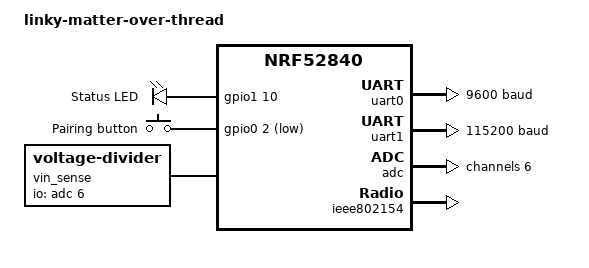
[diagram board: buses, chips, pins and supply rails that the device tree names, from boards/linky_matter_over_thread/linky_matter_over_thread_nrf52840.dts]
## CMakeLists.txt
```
# SPDX-License-Identifier: Apache-2.0

cmake_minimum_required(VERSION 3.20.0)

find_package(Zephyr HINTS $ENV{ZEPHYR_BASE})

project(linky-matter-over-thread)

# Matter needs the GNU flavour of C++17, and the sample helpers of the nRF
# Connect SDK (Matter init, board LED and button, data model glue).
include(${ZEPHYR_CONNECTEDHOMEIP_MODULE_DIR}/config/nrfconnect/app/enable-gnu-std.cmake)
include(${ZEPHYR_NRF_MODULE_DIR}/samples/matter/common/cmake/source_common.cmake)
include(${ZEPHYR_NRF_MODULE_DIR}/samples/matter/common/cmake/data_model.cmake)
include(${ZEPHYR_NRF_MODULE_DIR}/samples/matter/common/cmake/zap_helpers.cmake)

ncs_get_zap_parent_dir(ZAP_PARENT_DIR)

target_include_directories(app PRIVATE
  src
  src/tic
  ${ZAP_PARENT_DIR}
)

target_sources(app PRIVATE
  src/main.cpp
  src/electrical_sensor.cpp
  src/tic_reader.c
  src/vin_monitor.c
  src/tic/tic_parser.c
  src/tic/tic_meter.c
)

# Builds the code generated from src/default_zap/linky.zap.
ncs_configure_data_model()
```

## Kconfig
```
# SPDX-License-Identifier: Apache-2.0

mainmenu "linky-matter-over-thread"

# Thread sleepy end device (Matter ICD, short idle time): the radio sleeps
# between polls of its parent, which keeps the average current low enough
# to run from the TIC.
choice OPENTHREAD_NORDIC_LIBRARY_CONFIGURATION
	default OPENTHREAD_NORDIC_LIBRARY_MTD
endchoice

choice OPENTHREAD_DEVICE_TYPE
	default OPENTHREAD_MTD
endchoice

config CHIP_ENABLE_ICD_SUPPORT
	default y

config CHIP_ICD_SLOW_POLL_INTERVAL
	default 5000

config CHIP_ICD_REPORT_ON_ACTIVE_MODE
	default y

config OPENTHREAD_DEFAULT_TX_POWER
	default 0

config LINKY_TIC_TIMEOUT_MS
	int "Time without a valid frame before trying the other TIC speed (ms)"
	default 6000
	help
	  The meter sends a frame about every second in standard mode (9600 baud)
	  and every 1.5 s or so in historic mode (1200 baud). If no valid frame
	  arrives within this time, the reader switches to the other speed.

config LINKY_ENERGY_REPORT_INTERVAL_S
	int "Minimum time between two cumulative energy updates (s)"
	default 60

config LINKY_POWER_WINDOW_S
	int "Minimum window for the active power estimate (s)"
	default 60

config LINKY_VIN_LOG_INTERVAL_S
	int "Interval between two input voltage log lines, 0 to disable (s)"
	default 60

source "$(ZEPHYR_CONNECTEDHOMEIP_MODULE_DIR)/config/nrfconnect/chip-module/Kconfig.features"
source "$(ZEPHYR_CONNECTEDHOMEIP_MODULE_DIR)/config/nrfconnect/chip-module/Kconfig.defaults"
source "$(ZEPHYR_NRF_MODULE_DIR)/samples/matter/common/src/Kconfig"
source "Kconfig.zephyr"
```

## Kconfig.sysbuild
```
# SPDX-License-Identifier: Apache-2.0

# No bootloader: the nRF52840 has no external flash on this board, so there is
# no room for a second image and no over-the-air update. Updates go through SWD.
choice BOOTLOADER
	default BOOTLOADER_NONE
endchoice

config MATTER_OTA
	default n

# Generates factory data with a random setup passcode and discriminator for
# each build, instead of the well-known test passcode.
config MATTER_FACTORY_DATA_GENERATE
	default y

source "share/sysbuild/Kconfig"
```

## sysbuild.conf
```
# SPDX-License-Identifier: Apache-2.0

SB_CONFIG_MATTER=y
SB_CONFIG_PARTITION_MANAGER=n
```

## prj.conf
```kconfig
# SPDX-License-Identifier: Apache-2.0

# Matter
CONFIG_CHIP=y
CONFIG_NCS_SAMPLE_MATTER_ZAP_FILE_PATH="${APPLICATION_CONFIG_DIR}/src/default_zap/linky.zap"
CONFIG_CHIP_DEVICE_VENDOR_NAME="linky-matter-over-thread"
CONFIG_CHIP_DEVICE_PRODUCT_NAME="Linky TIC"
# Test vendor and product IDs: commission with the test DCL enabled.
CONFIG_CHIP_DEVICE_PRODUCT_ID=32768
CONFIG_STD_CPP17=y
CONFIG_CHIP_ENABLE_PAIRING_AUTOSTART=y
CONFIG_CHIP_BLE_EXT_ADVERTISING=y
CONFIG_CHIP_BLE_ADVERTISING_DURATION=60
CONFIG_BT_DEVICE_NAME="LinkyMatter"
CONFIG_BT_DEVICE_NAME_MAX=18

# No external flash, no bootloader: no Matter OTA.
CONFIG_CHIP_BOOTLOADER_NONE=y
CONFIG_CHIP_OTA_REQUESTOR=n
CONFIG_CHIP_FACTORY_DATA=y
CONFIG_CHIP_FACTORY_DATA_BUILD=y
CONFIG_CHIP_NFC_ONBOARDING_PAYLOAD=n

# Status LED and pairing button (short press: advertise, long press: factory reset).
CONFIG_DK_LIBRARY=y

# TIC input and the input voltage monitor.
CONFIG_UART_INTERRUPT_DRIVEN=y
CONFIG_UART_USE_RUNTIME_CONFIGURE=y
CONFIG_ADC=y

# Debug output on J2 (TX only, no shell).
CONFIG_SHELL=n
CONFIG_CHIP_LIB_SHELL=n
CONFIG_OPENTHREAD_SHELL=n
CONFIG_USE_SEGGER_RTT=n

CONFIG_PM_DEVICE=y
CONFIG_THREAD_NAME=y
CONFIG_MPU_STACK_GUARD=y
CONFIG_RESET_ON_FATAL_ERROR=y

# Test event triggers are only useful for certification.
CONFIG_NCS_SAMPLE_MATTER_TEST_EVENT_TRIGGERS=n
```

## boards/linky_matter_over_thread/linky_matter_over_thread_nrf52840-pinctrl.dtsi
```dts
/*
 * SPDX-License-Identifier: Apache-2.0
 */

&pinctrl {
	/* TIC data, from the AO3400A drain (10 k pull-up on the board). Receive only. */
	uart0_default: uart0_default {
		group1 {
			psels = <NRF_PSEL(UART_RX, 0, 13)>;
		};
	};

	uart0_sleep: uart0_sleep {
		group1 {
			psels = <NRF_PSEL(UART_RX, 0, 13)>;
			low-power-enable;
		};
	};

	/* Debug output on J2 pin 4. Transmit only. */
	uart1_default: uart1_default {
		group1 {
			psels = <NRF_PSEL(UART_TX, 0, 24)>;
		};
	};

	uart1_sleep: uart1_sleep {
		group1 {
			psels = <NRF_PSEL(UART_TX, 0, 24)>;
			low-power-enable;
		};
	};
};
```

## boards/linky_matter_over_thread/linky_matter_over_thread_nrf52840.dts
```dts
/*
 * SPDX-License-Identifier: Apache-2.0
 *
 * linky-matter-over-thread v1: Ebyte E73-2G4M08S1C (nRF52840) powered by the Linky TIC.
 * Pin assignment matches hardware/linky-matter-over-thread.kicad_sch.
 */

/dts-v1/;
#include <nordic/nrf52840_qiaa.dtsi>
#include "linky_matter_over_thread_nrf52840-pinctrl.dtsi"
#include <zephyr/dt-bindings/input/input-event-codes.h>
#include <zephyr/dt-bindings/adc/adc.h>
#include <zephyr/dt-bindings/adc/nrf-saadc.h>

/ {
	model = "linky-matter-over-thread";
	compatible = "linky-matter-over-thread";

	chosen {
		zephyr,console = &uart1;
		zephyr,shell-uart = &uart1;
		zephyr,sram = &sram0;
		zephyr,flash = &flash0;
		zephyr,code-partition = &slot0_partition;
		zephyr,ieee802154 = &ieee802154;
	};

	leds {
		compatible = "gpio-leds";
		led0: led_0 {
			gpios = <&gpio1 10 GPIO_ACTIVE_HIGH>;
			label = "Status LED";
		};
	};

	buttons {
		compatible = "gpio-keys";
		button0: button_0 {
			gpios = <&gpio0 2 (GPIO_PULL_UP | GPIO_ACTIVE_LOW)>;
			label = "Pairing button";
			zephyr,code = <INPUT_KEY_0>;
		};
	};

	/* Input voltage after the bridge, through 1 M / 150 k (x 0.1304) on AIN6. */
	vin_sense: vin-sense {
		compatible = "voltage-divider";
		io-channels = <&adc 6>;
		output-ohms = <150000>;
		full-ohms = <1150000>;
	};

	aliases {
		led0 = &led0;
		sw0 = &button0;
		tic-uart = &uart0;
	};
};

/* P0.18 is the reset pin (J2 pin 3); without this it stays a plain GPIO. */
&uicr {
	gpio-as-nreset;
};

&gpiote {
	status = "okay";
};

&gpio0 {
	status = "okay";
};

&gpio1 {
	status = "okay";
};

/*
 * No DC/DC: the E73 module does not appear to have the inductor the nRF52840
 * DC/DC regulator needs, so REG1 stays in LDO mode (the default).
 * VDDH is tied to VDD on the board (normal voltage mode).
 */

&uart0 {
	compatible = "nordic,nrf-uarte";
	status = "okay";
	current-speed = <9600>;
	pinctrl-0 = <&uart0_default>;
	pinctrl-1 = <&uart0_sleep>;
	pinctrl-names = "default", "sleep";
};

&uart1 {
	compatible = "nordic,nrf-uarte";
	status = "okay";
	current-speed = <115200>;
	pinctrl-0 = <&uart1_default>;
	pinctrl-1 = <&uart1_sleep>;
	pinctrl-names = "default", "sleep";
};

&adc {
	status = "okay";
	#address-cells = <1>;
	#size-cells = <0>;

	channel@6 {
		reg = <6>;
		zephyr,gain = "ADC_GAIN_1_6";
		zephyr,reference = "ADC_REF_INTERNAL";
		/* 130 kOhm source: 40 us acquisition is the nRF52840 setting for up to 800 kOhm. */
		zephyr,acquisition-time = <ADC_ACQ_TIME(ADC_ACQ_TIME_MICROSECONDS, 40)>;
		zephyr,input-positive = <NRF_SAADC_AIN6>;
		zephyr,resolution = <12>;
	};
};

&ieee802154 {
	status = "okay";
};

&flash0 {
	partitions {
		ranges;
		#address-cells = <1>;
		#size-cells = <1>;

		/* No bootloader and no external flash: updates go through SWD. */
		slot0_partition: partition@0 {
			compatible = "zephyr,mapped-partition";
			label = "image-0";
			reg = <0x00000000 DT_SIZE_K(988)>;
		};

		factory_data_partition: partition@f7000 {
			compatible = "zephyr,mapped-partition";
			label = "factory-data";
			reg = <0x000f7000 DT_SIZE_K(4)>;
		};

		storage_partition: partition@f8000 {
			compatible = "zephyr,mapped-partition";
			label = "storage";
			reg = <0x000f8000 DT_SIZE_K(32)>;
		};
	};
};
```

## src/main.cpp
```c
/*
 * SPDX-License-Identifier: Apache-2.0
 *
 * Starts Matter with the nRF Connect SDK helpers, then the TIC reader, and
 * hands every valid frame over to the Matter thread.
 */

#include "electrical_sensor.h"
#include "tic_reader.h"
#include "vin_monitor.h"

#include "app/matter_init.h"
#include "app/task_executor.h"
#include "board/board.h"

#include <lib/core/CHIPError.h>
#include <lib/support/CodeUtils.h>
#include <platform/CHIPDeviceLayer.h>

#include <zephyr/kernel.h>
#include <zephyr/logging/log.h>

#include <cstdlib>

LOG_MODULE_REGISTER(app, CONFIG_CHIP_APP_LOG_LEVEL);

namespace {

constexpr chip::EndpointId kMeterEndpoint = 1;

/*
 * The TIC thread keeps only the newest frame here and schedules at most one
 * update on the Matter thread at a time, which then takes that newest frame.
 */
k_spinlock sFrameLock;
tic_reading sNewestFrame;
bool sUpdateScheduled;

void ApplyNewestFrame(intptr_t)
{
	k_spinlock_key_t key = k_spin_lock(&sFrameLock);
	tic_reading frame = sNewestFrame;

	sUpdateScheduled = false;
	k_spin_unlock(&sFrameLock, key);

	ElectricalSensor::Update(frame, static_cast<uint64_t>(k_uptime_get()));
}

void OnFrame(const tic_reading *frame)
{
	k_spinlock_key_t key = k_spin_lock(&sFrameLock);
	bool schedule = !sUpdateScheduled;

	sNewestFrame = *frame;
	sUpdateScheduled = true;
	k_spin_unlock(&sFrameLock, key);

	if (schedule) {
		chip::DeviceLayer::PlatformMgr().ScheduleWork(ApplyNewestFrame);
	}
}

CHIP_ERROR StartMatter()
{
	/* The clusters of the meter are set up on the Matter thread, right after the server. */
	Nrf::Matter::InitData init{};

	init.mPostServerInitClbk = [] { return ElectricalSensor::Init(kMeterEndpoint); };
	ReturnErrorOnFailure(Nrf::Matter::PrepareServer(init));

	/* Status LED, and the button: short press to advertise, long press to factory reset. */
	VerifyOrReturnError(Nrf::GetBoard().Init(), CHIP_ERROR_INCORRECT_STATE);
	ReturnErrorOnFailure(Nrf::Matter::RegisterEventHandler(Nrf::Board::DefaultMatterEventHandler, 0));

	return Nrf::Matter::StartServer();
}

} // namespace

int main()
{
	CHIP_ERROR err = StartMatter();

	if (err != CHIP_NO_ERROR) {
		LOG_ERR("Matter did not start: %" CHIP_ERROR_FORMAT, err.Format());
		return EXIT_FAILURE;
	}

	if (int ret = vin_monitor_start(); ret) {
		LOG_WRN("Input voltage monitor not started: %d", ret);
	}
	if (int ret = tic_reader_start(OnFrame); ret) {
		LOG_ERR("TIC reader not started: %d", ret);
		return EXIT_FAILURE;
	}

	for (;;) {
		Nrf::DispatchNextTask();
	}
}
```

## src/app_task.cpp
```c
/*
 * Based on the nRF Connect SDK Matter template sample.
 * Copyright (c) 2021 Nordic Semiconductor ASA
 * SPDX-License-Identifier: LicenseRef-Nordic-5-Clause
 */

#include "app_task.h"

#include "electrical_sensor.h"
#include "tic_reader.h"
#include "vin_monitor.h"

#include "app/matter_init.h"
#include "app/task_executor.h"
#include "board/board.h"

#include <lib/core/CHIPError.h>
#include <lib/support/CodeUtils.h>
#include <platform/CHIPDeviceLayer.h>

#include <zephyr/kernel.h>
#include <zephyr/logging/log.h>

LOG_MODULE_DECLARE(app, CONFIG_CHIP_APP_LOG_LEVEL);

using namespace ::chip;
using namespace ::chip::DeviceLayer;

namespace {

constexpr EndpointId kMeterEndpoint = 1;

/* Latest frame, handed from the TIC thread to the Matter thread. */
struct k_spinlock sLock;
tic_reading sLatest;
bool sUpdatePending;

void UpdateOnMatterThread(intptr_t)
{
	tic_reading reading;
	k_spinlock_key_t key = k_spin_lock(&sLock);

	reading = sLatest;
	sUpdatePending = false;
	k_spin_unlock(&sLock, key);

	ElectricalSensor::Update(reading, static_cast<uint64_t>(k_uptime_get()));
}

/* Runs in the TIC thread for every valid frame. */
void OnTicReading(const tic_reading *reading)
{
	k_spinlock_key_t key = k_spin_lock(&sLock);
	bool schedule = !sUpdatePending;

	sLatest = *reading;
	sUpdatePending = true;
	k_spin_unlock(&sLock, key);

	/* One pending update is enough: it always picks up the newest frame. */
	if (schedule) {
		PlatformMgr().ScheduleWork(UpdateOnMatterThread);
	}
}

} // namespace

CHIP_ERROR AppTask::Init()
{
	ReturnErrorOnFailure(Nrf::Matter::PrepareServer(Nrf::Matter::InitData{
		.mPostServerInitClbk = [] { return ElectricalSensor::Init(kMeterEndpoint); } }));

	if (!Nrf::GetBoard().Init()) {
		LOG_ERR("User interface initialization failed.");
		return CHIP_ERROR_INCORRECT_STATE;
	}

	ReturnErrorOnFailure(Nrf::Matter::RegisterEventHandler(Nrf::Board::DefaultMatterEventHandler, 0));
	ReturnErrorOnFailure(Nrf::Matter::StartServer());

	if (int err = vin_monitor_start(); err) {
		LOG_WRN("Input voltage monitor not started: %d", err);
	}
	if (int err = tic_reader_start(OnTicReading); err) {
		LOG_ERR("TIC reader not started: %d", err);
		return CHIP_ERROR_INCORRECT_STATE;
	}
	return CHIP_NO_ERROR;
}

CHIP_ERROR AppTask::StartApp()
{
	ReturnErrorOnFailure(Init());

	while (true) {
		Nrf::DispatchNextTask();
	}

	return CHIP_NO_ERROR;
}
```

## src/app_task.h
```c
/*
 * Based on the nRF Connect SDK Matter template sample.
 * Copyright (c) 2021 Nordic Semiconductor ASA
 * SPDX-License-Identifier: LicenseRef-Nordic-5-Clause
 */

#pragma once

#include <platform/CHIPDeviceLayer.h>

class AppTask {
public:
	static AppTask &Instance()
	{
		static AppTask sAppTask;
		return sAppTask;
	};

	CHIP_ERROR StartApp();

private:
	CHIP_ERROR Init();
};
```

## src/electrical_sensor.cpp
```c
/*
 * SPDX-License-Identifier: Apache-2.0
 */

#include "electrical_sensor.h"

#include <app-common/zap-generated/cluster-objects.h>
#include <app/clusters/electrical-energy-measurement-server/ElectricalEnergyMeasurementCluster.h>
#include <app/clusters/electrical-energy-measurement-server/electrical-energy-measurement-server.h>
#include <app/clusters/electrical-power-measurement-server/electrical-power-measurement-server.h>
#include <app/clusters/power-topology-server/power-topology-server.h>
#include <app/reporting/reporting.h>
#include <app/util/endpoint-config-api.h>
#include <lib/support/CHIPMem.h>
#include <lib/support/CodeUtils.h>
#include <platform/KeyValueStoreManager.h>

#include <zephyr/logging/log.h>

LOG_MODULE_REGISTER(sensor, CONFIG_CHIP_APP_LOG_LEVEL);

using namespace chip;
using namespace chip::app;
using namespace chip::app::Clusters;

namespace {

namespace EPM = ElectricalPowerMeasurement;
namespace EEM = ElectricalEnergyMeasurement;

using AccuracyRange = EPM::Structs::MeasurementAccuracyRangeStruct::Type;
using Accuracy = EPM::Structs::MeasurementAccuracyStruct::Type;

/*
 * Accuracy as the Linky reports it: voltage and current to the volt and the
 * ampere, apparent power to the volt-ampere (PAPP is rounded to 10 VA), and
 * active power estimated from 1 Wh steps over at least a minute.
 */
const AccuracyRange kVoltageRange[] = { { .rangeMin = 0, .rangeMax = 500'000, .fixedMax = MakeOptional<uint64_t>(1'000) } };
const AccuracyRange kCurrentRange[] = { { .rangeMin = 0, .rangeMax = 100'000, .fixedMax = MakeOptional<uint64_t>(1'000) } };
const AccuracyRange kActivePowerRange[] = { { .rangeMin = 0, .rangeMax = 36'000'000, .fixedMax = MakeOptional<uint64_t>(60'000) } };
const AccuracyRange kApparentPowerRange[] = { { .rangeMin = 0, .rangeMax = 36'000'000, .fixedMax = MakeOptional<uint64_t>(10'000) } };
const AccuracyRange kEnergyRange[] = { { .rangeMin = 0, .rangeMax = 999'999'999'000, .fixedMax = MakeOptional<uint64_t>(1'000) } };

const Accuracy kPowerAccuracies[] = {
	{ .measurementType = EPM::MeasurementTypeEnum::kVoltage, .measured = true, .minMeasuredValue = 0,
	  .maxMeasuredValue = 500'000, .accuracyRanges = DataModel::List<const AccuracyRange>(kVoltageRange) },
	{ .measurementType = EPM::MeasurementTypeEnum::kActiveCurrent, .measured = true, .minMeasuredValue = 0,
	  .maxMeasuredValue = 100'000, .accuracyRanges = DataModel::List<const AccuracyRange>(kCurrentRange) },
	{ .measurementType = EPM::MeasurementTypeEnum::kActivePower, .measured = true, .minMeasuredValue = 0,
	  .maxMeasuredValue = 36'000'000, .accuracyRanges = DataModel::List<const AccuracyRange>(kActivePowerRange) },
	{ .measurementType = EPM::MeasurementTypeEnum::kApparentPower, .measured = true, .minMeasuredValue = 0,
	  .maxMeasuredValue = 36'000'000, .accuracyRanges = DataModel::List<const AccuracyRange>(kApparentPowerRange) },
};

const Accuracy kEnergyAccuracy = { .measurementType = EPM::MeasurementTypeEnum::kElectricalEnergy,
				   .measured = true,
				   .minMeasuredValue = 0,
				   .maxMeasuredValue = 999'999'999'000,
				   .accuracyRanges = DataModel::List<const AccuracyRange>(kEnergyRange) };

class PowerDelegate : public EPM::Delegate {
public:
	EPM::PowerModeEnum GetPowerMode() override { return EPM::PowerModeEnum::kAc; }
	uint8_t GetNumberOfMeasurementTypes() override { return MATTER_ARRAY_SIZE(kPowerAccuracies); }

	CHIP_ERROR StartAccuracyRead() override { return CHIP_NO_ERROR; }
	CHIP_ERROR GetAccuracyByIndex(uint8_t index, Accuracy &accuracy) override
	{
		VerifyOrReturnError(index < MATTER_ARRAY_SIZE(kPowerAccuracies), CHIP_ERROR_PROVIDER_LIST_EXHAUSTED);
		accuracy = kPowerAccuracies[index];
		return CHIP_NO_ERROR;
	}
	CHIP_ERROR EndAccuracyRead() override { return CHIP_NO_ERROR; }

	CHIP_ERROR StartRangesRead() override { return CHIP_NO_ERROR; }
	CHIP_ERROR GetRangeByIndex(uint8_t, EPM::Structs::MeasurementRangeStruct::Type &) override
	{
		return CHIP_ERROR_PROVIDER_LIST_EXHAUSTED;
	}
	CHIP_ERROR EndRangesRead() override { return CHIP_NO_ERROR; }

	CHIP_ERROR StartHarmonicCurrentsRead() override { return CHIP_NO_ERROR; }
	CHIP_ERROR GetHarmonicCurrentsByIndex(uint8_t, EPM::Structs::HarmonicMeasurementStruct::Type &) override
	{
		return CHIP_ERROR_PROVIDER_LIST_EXHAUSTED;
	}
	CHIP_ERROR EndHarmonicCurrentsRead() override { return CHIP_NO_ERROR; }

	CHIP_ERROR StartHarmonicPhasesRead() override { return CHIP_NO_ERROR; }
	CHIP_ERROR GetHarmonicPhasesByIndex(uint8_t, EPM::Structs::HarmonicMeasurementStruct::Type &) override
	{
		return CHIP_ERROR_PROVIDER_LIST_EXHAUSTED;
	}
	CHIP_ERROR EndHarmonicPhasesRead() override { return CHIP_NO_ERROR; }

	DataModel::Nullable<int64_t> GetVoltage() override { return mVoltage; }
	DataModel::Nullable<int64_t> GetActiveCurrent() override { return mCurrent; }
	DataModel::Nullable<int64_t> GetActivePower() override { return mActivePower; }
	DataModel::Nullable<int64_t> GetApparentPower() override { return mApparentPower; }
	DataModel::Nullable<int64_t> GetReactiveCurrent() override { return {}; }
	DataModel::Nullable<int64_t> GetApparentCurrent() override { return {}; }
	DataModel::Nullable<int64_t> GetReactivePower() override { return {}; }
	DataModel::Nullable<int64_t> GetRMSVoltage() override { return {}; }
	DataModel::Nullable<int64_t> GetRMSCurrent() override { return {}; }
	DataModel::Nullable<int64_t> GetRMSPower() override { return {}; }
	DataModel::Nullable<int64_t> GetFrequency() override { return {}; }
	DataModel::Nullable<int64_t> GetPowerFactor() override { return {}; }
	DataModel::Nullable<int64_t> GetNeutralCurrent() override { return {}; }

	void SetVoltage(DataModel::Nullable<int64_t> v) { Set(mVoltage, v, EPM::Attributes::Voltage::Id); }
	void SetCurrent(DataModel::Nullable<int64_t> v) { Set(mCurrent, v, EPM::Attributes::ActiveCurrent::Id); }
	void SetActivePower(DataModel::Nullable<int64_t> v) { Set(mActivePower, v, EPM::Attributes::ActivePower::Id); }
	void SetApparentPower(DataModel::Nullable<int64_t> v) { Set(mApparentPower, v, EPM::Attributes::ApparentPower::Id); }

private:
	void Set(DataModel::Nullable<int64_t> &field, DataModel::Nullable<int64_t> value, AttributeId id)
	{
		if (field != value) {
			field = value;
			MatterReportingAttributeChangeCallback(mEndpointId, EPM::Id, id);
		}
	}

	DataModel::Nullable<int64_t> mVoltage;
	DataModel::Nullable<int64_t> mCurrent;
	DataModel::Nullable<int64_t> mActivePower;
	DataModel::Nullable<int64_t> mApparentPower;
};

class TopologyDelegate : public PowerTopology::Delegate {
public:
	CHIP_ERROR GetAvailableEndpointAtIndex(size_t, EndpointId &) override { return CHIP_ERROR_PROVIDER_LIST_EXHAUSTED; }
	CHIP_ERROR GetActiveEndpointAtIndex(size_t, EndpointId &) override { return CHIP_ERROR_PROVIDER_LIST_EXHAUSTED; }
};

/*
 * Endpoints 2 to 11 carry the energy of supplier indexes 1 to 10 (HC/HP, Tempo...).
 * An endpoint stays hidden until its index shows up in a frame; the indexes
 * seen are saved so the same endpoints are back right after a reboot.
 */
constexpr EndpointId kFirstIndexEndpoint = 2;
constexpr uint8_t kIndexEndpoints = TIC_INDEX_COUNT;
constexpr uint16_t kIndexEndpointMask = (1u << kIndexEndpoints) - 1;
constexpr char kIndexMaskKey[] = "linky/ix";

struct EnergyChannel {
	EndpointId endpoint = kInvalidEndpointId;
	uint32_t lastWh = 0;
	uint64_t lastMs = 0;
	bool sent = false;
};

EndpointId sEndpoint = kInvalidEndpointId;
PowerDelegate sPowerDelegate;
TopologyDelegate sTopologyDelegate;
EPM::Instance *sPower;
PowerTopology::Instance *sTopology;
PowerTopology::Instance *sIndexTopology[kIndexEndpoints];
EEM::ElectricalEnergyMeasurementAttrAccess *sEnergy;

tic_power_estimator sEstimator;
EnergyChannel sTotal;
EnergyChannel sIndex[kIndexEndpoints];
uint16_t sShownIndexes;

DataModel::Nullable<int64_t> Milli(bool present, uint32_t value)
{
	return present ? DataModel::MakeNullable(static_cast<int64_t>(value) * 1000) : DataModel::Nullable<int64_t>();
}

/* The counters only move in 1 Wh steps; send one when it moved, at most once a minute. */
void UpdateEnergy(EnergyChannel &ch, uint32_t wh, uint64_t nowMs)
{
	bool due = !ch.sent ||
		   (wh != ch.lastWh && nowMs - ch.lastMs >= CONFIG_LINKY_ENERGY_REPORT_INTERVAL_S * 1000ull);
	if (!due) {
		return;
	}
	EEM::Structs::EnergyMeasurementStruct::Type imported;

	imported.energy = static_cast<int64_t>(wh) * 1000; /* mWh */
	imported.endSystime.SetValue(nowMs);
	EEM::NotifyCumulativeEnergyMeasured(ch.endpoint, MakeOptional(imported), NullOptional);
	MatterReportingAttributeChangeCallback(ch.endpoint, EEM::Id, EEM::Attributes::CumulativeEnergyImported::Id);
	ch.lastWh = wh;
	ch.lastMs = nowMs;
	ch.sent = true;
}

void ShowIndexEndpoints(uint16_t mask)
{
	for (uint8_t i = 0; i < kIndexEndpoints; i++) {
		bool show = mask & (1u << i);

		emberAfEndpointEnableDisable(sIndex[i].endpoint, show);
		if (show) {
			/* Enabling an endpoint initialises its clusters again. */
			EEM::SetMeasurementAccuracy(sIndex[i].endpoint, kEnergyAccuracy);
		}
	}
}

} // namespace

namespace ElectricalSensor {

CHIP_ERROR Init(EndpointId endpoint)
{
	sEndpoint = endpoint;

	static PowerTopology::Instance topology(endpoint, sTopologyDelegate,
						BitMask<PowerTopology::Feature>(PowerTopology::Feature::kNodeTopology),
						BitMask<PowerTopology::OptionalAttributes>(0));
	sTopology = &topology;
	ReturnErrorOnFailure(sTopology->Init());

	static EPM::Instance power(endpoint, sPowerDelegate,
				   BitMask<EPM::Feature>(EPM::Feature::kAlternatingCurrent),
				   BitMask<EPM::OptionalAttributes>(EPM::OptionalAttributes::kOptionalAttributeVoltage,
								    EPM::OptionalAttributes::kOptionalAttributeActiveCurrent,
								    EPM::OptionalAttributes::kOptionalAttributeApparentPower));
	sPower = &power;
	ReturnErrorOnFailure(sPower->Init());

	static EEM::ElectricalEnergyMeasurementAttrAccess energy(
		BitMask<EEM::Feature>(EEM::Feature::kImportedEnergy, EEM::Feature::kCumulativeEnergy),
		BitMask<EEM::OptionalAttributes>(0));
	sEnergy = &energy;
	ReturnErrorOnFailure(sEnergy->Init());
	ReturnErrorOnFailure(EEM::SetMeasurementAccuracy(endpoint, kEnergyAccuracy));
	sTotal.endpoint = endpoint;

	for (uint8_t i = 0; i < kIndexEndpoints; i++) {
		EndpointId ep = static_cast<EndpointId>(kFirstIndexEndpoint + i);

		sIndexTopology[i] = Platform::New<PowerTopology::Instance>(
			ep, sTopologyDelegate, BitMask<PowerTopology::Feature>(PowerTopology::Feature::kNodeTopology),
			BitMask<PowerTopology::OptionalAttributes>(0));
		VerifyOrReturnError(sIndexTopology[i] != nullptr, CHIP_ERROR_NO_MEMORY);
		ReturnErrorOnFailure(sIndexTopology[i]->Init());
		ReturnErrorOnFailure(EEM::SetMeasurementAccuracy(ep, kEnergyAccuracy));
		sIndex[i].endpoint = ep;
	}

	uint16_t saved = 0;

	if (DeviceLayer::PersistedStorage::KeyValueStoreMgr().Get(kIndexMaskKey, &saved) != CHIP_NO_ERROR) {
		saved = 0;
	}
	sShownIndexes = saved & kIndexEndpointMask;
	ShowIndexEndpoints(sShownIndexes);
	LOG_INF("Index endpoints shown: 0x%03x", sShownIndexes);

	tic_power_init(&sEstimator, CONFIG_LINKY_POWER_WINDOW_S * 1000u);
	return CHIP_NO_ERROR;
}

void Update(const tic_reading &r, uint64_t nowMs)
{
	VerifyOrReturn(sEndpoint != kInvalidEndpointId);

	sPowerDelegate.SetVoltage(Milli(r.fields & TIC_HAS_VOLTAGE, r.voltage_v));
	sPowerDelegate.SetCurrent(Milli(r.fields & TIC_HAS_CURRENT, r.current_a));
	sPowerDelegate.SetApparentPower(Milli(r.fields & TIC_HAS_APPARENT_POWER, r.apparent_power_va));

	if (!(r.fields & TIC_HAS_TOTAL)) {
		return;
	}
	if (tic_power_update(&sEstimator, r.total_wh, nowMs)) {
		sPowerDelegate.SetActivePower(Milli(sEstimator.has_power, sEstimator.power_w));
	}

	UpdateEnergy(sTotal, r.total_wh, nowMs);

	uint16_t seen = r.index_mask & kIndexEndpointMask;

	if (seen & ~sShownIndexes) {
		sShownIndexes |= seen;
		ShowIndexEndpoints(sShownIndexes);
		DeviceLayer::PersistedStorage::KeyValueStoreMgr().Put(kIndexMaskKey, sShownIndexes);
		LOG_INF("Index endpoints shown: 0x%03x", sShownIndexes);
	}
	for (uint8_t i = 0; i < kIndexEndpoints; i++) {
		if (seen & (1u << i)) {
			UpdateEnergy(sIndex[i], r.energy_wh[i], nowMs);
		}
	}
}

} // namespace ElectricalSensor
```

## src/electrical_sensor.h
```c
/*
 * SPDX-License-Identifier: Apache-2.0
 *
 * Matter side of the meter. Endpoint 1 is an Electrical Sensor with the
 * Power Topology, Electrical Power Measurement and Electrical Energy
 * Measurement clusters, for the whole meter. Endpoints 2 to 11 carry the
 * energy of supplier indexes 1 to 10, shown once the meter reports them.
 * Call both functions on the Matter thread.
 */
#pragma once

#include "tic_meter.h"

#include <lib/core/CHIPError.h>
#include <lib/core/DataModelTypes.h>

namespace ElectricalSensor {

CHIP_ERROR Init(chip::EndpointId endpoint);

void Update(const tic_reading &reading, uint64_t nowMs);

} // namespace ElectricalSensor
```

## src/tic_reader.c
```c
/*
 * SPDX-License-Identifier: Apache-2.0
 */

#include "tic_reader.h"

#include <zephyr/device.h>
#include <zephyr/drivers/clock_control/nrf_clock_control.h>
#include <zephyr/drivers/uart.h>
#include <zephyr/kernel.h>
#include <zephyr/logging/log.h>
#include <zephyr/sys/onoff.h>
#include <zephyr/sys/ring_buffer.h>

LOG_MODULE_REGISTER(tic, CONFIG_LOG_DEFAULT_LEVEL);

#define TIC_STACK_SIZE 1536
#define TIC_PRIORITY   K_PRIO_PREEMPT(10)

static const struct device *const uart = DEVICE_DT_GET(DT_ALIAS(tic_uart));

RING_BUF_DECLARE(rx_ring, 512);
static K_SEM_DEFINE(rx_sem, 0, 1);

static struct tic_meter meter;
static tic_reader_cb user_cb;
static int64_t last_frame_ms;
static int64_t last_switch_ms;
static uint32_t baudrate = 9600;
static bool locked;

/*
 * The UARTE times bits from HFCLK. Unless something asks for the 32 MHz crystal, HFCLK runs
 * from the internal RC oscillator (1.5 % typical, up to 8 %), which leaves too little margin
 * at 9600 baud once the optocoupler's slow edges are counted. Keep the crystal on while the
 * TIC is read: it costs about 0.1 mA.
 */
static struct onoff_client hfxo_client;

static int hfxo_request(void)
{
	struct onoff_manager *mgr = z_nrf_clock_control_get_onoff(CLOCK_CONTROL_NRF_SUBSYS_HF);

	if (!mgr) {
		return -ENODEV;
	}
	sys_notify_init_spinwait(&hfxo_client.notify);
	int err = onoff_request(mgr, &hfxo_client);

	return err < 0 ? err : 0;
}

static void uart_isr(const struct device *dev, void *user_data)
{
	ARG_UNUSED(user_data);

	while (uart_irq_update(dev) && uart_irq_rx_ready(dev)) {
		uint8_t buf[32];
		int n = uart_fifo_read(dev, buf, sizeof(buf));

		if (n <= 0) {
			break;
		}
		/* If the reader thread falls behind, the excess is dropped and the frame fails its checks. */
		ring_buf_put(&rx_ring, buf, n);
		k_sem_give(&rx_sem);
	}
}

static int apply_baudrate(uint32_t rate)
{
	const struct uart_config cfg = {
		.baudrate = rate,
		.parity = UART_CFG_PARITY_NONE, /* 7E1 is read as 8N1, parity checked in software */
		.stop_bits = UART_CFG_STOP_BITS_1,
		.data_bits = UART_CFG_DATA_BITS_8,
		.flow_ctrl = UART_CFG_FLOW_CTRL_NONE,
	};

	uart_irq_rx_disable(uart);
	int err = uart_configure(uart, &cfg);

	ring_buf_reset(&rx_ring);
	tic_meter_init(&meter, meter.on_reading, NULL);
	uart_irq_rx_enable(uart);
	return err;
}

static void on_reading(const struct tic_reading *reading, void *ctx)
{
	ARG_UNUSED(ctx);

	last_frame_ms = k_uptime_get();
	if (!locked) {
		locked = true;
		LOG_INF("TIC found: %s mode, %u baud",
			reading->mode == TIC_MODE_STANDARD ? "standard" : "historic", baudrate);
	}
	if (user_cb) {
		user_cb(reading);
	}
}

static void tic_thread(void *a, void *b, void *c)
{
	ARG_UNUSED(a);
	ARG_UNUSED(b);
	ARG_UNUSED(c);

	uint8_t buf[64];

	last_switch_ms = k_uptime_get();
	for (;;) {
		k_sem_take(&rx_sem, K_MSEC(500));

		uint32_t n;

		do {
			unsigned int key = irq_lock();

			n = ring_buf_get(&rx_ring, buf, sizeof(buf));
			irq_unlock(key);
			if (n) {
				tic_meter_feed(&meter, buf, n);
			}
		} while (n);

		/* No valid frame for a while: try the other speed. */
		int64_t now = k_uptime_get();
		int64_t quiet_since = MAX(last_frame_ms, last_switch_ms);

		if (now - quiet_since > CONFIG_LINKY_TIC_TIMEOUT_MS) {
			if (locked) {
				LOG_WRN("TIC lost at %u baud", baudrate);
				locked = false;
			}
			baudrate = (baudrate == 9600) ? 1200 : 9600;
			last_switch_ms = now;
			if (apply_baudrate(baudrate)) {
				LOG_ERR("Cannot set %u baud", baudrate);
			}
		}
	}
}

K_THREAD_STACK_DEFINE(tic_stack, TIC_STACK_SIZE);
static struct k_thread tic_thread_data;

int tic_reader_start(tic_reader_cb cb)
{
	if (!device_is_ready(uart)) {
		LOG_ERR("TIC UART not ready");
		return -ENODEV;
	}
	int err = hfxo_request();

	if (err) {
		LOG_ERR("Cannot start the 32 MHz crystal (%d)", err);
		return err;
	}
	user_cb = cb;
	tic_meter_init(&meter, on_reading, NULL);
	uart_irq_callback_user_data_set(uart, uart_isr, NULL);

	err = apply_baudrate(baudrate);
	if (err) {
		return err;
	}
	k_thread_create(&tic_thread_data, tic_stack, K_THREAD_STACK_SIZEOF(tic_stack), tic_thread, NULL,
			NULL, NULL, TIC_PRIORITY, 0, K_NO_WAIT);
	k_thread_name_set(&tic_thread_data, "tic");
	return 0;
}
```

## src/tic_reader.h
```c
/*
 * SPDX-License-Identifier: Apache-2.0
 *
 * Reads the TIC from the UART and finds its speed on its own: 9600 baud in
 * standard mode, 1200 baud in historic mode.
 */
#pragma once

#include "tic_meter.h"

#ifdef __cplusplus
extern "C" {
#endif

/* Called from the reader thread for every valid frame. */
typedef void (*tic_reader_cb)(const struct tic_reading *reading);

int tic_reader_start(tic_reader_cb cb);

#ifdef __cplusplus
}
#endif
```

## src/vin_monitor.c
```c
/*
 * SPDX-License-Identifier: Apache-2.0
 */

#include "vin_monitor.h"

#include <zephyr/drivers/adc.h>
#include <zephyr/kernel.h>
#include <zephyr/logging/log.h>

LOG_MODULE_REGISTER(vin, CONFIG_LOG_DEFAULT_LEVEL);

#define VIN_NODE DT_NODELABEL(vin_sense)

static const struct adc_dt_spec adc = ADC_DT_SPEC_GET(VIN_NODE);
static const uint32_t full_ohms = DT_PROP(VIN_NODE, full_ohms);
static const uint32_t output_ohms = DT_PROP(VIN_NODE, output_ohms);

static int last_mv = -1;
static void vin_work_fn(struct k_work *work);
static K_WORK_DELAYABLE_DEFINE(vin_work, vin_work_fn);

static int measure(void)
{
	int16_t raw;
	struct adc_sequence seq = {
		.buffer = &raw,
		.buffer_size = sizeof(raw),
	};
	int err = adc_sequence_init_dt(&adc, &seq);

	if (!err) {
		err = adc_read_dt(&adc, &seq);
	}
	if (err) {
		return err;
	}
	int32_t mv = raw < 0 ? 0 : raw;

	err = adc_raw_to_millivolts_dt(&adc, &mv);
	if (err) {
		return err;
	}
	last_mv = (int)((int64_t)mv * full_ohms / output_ohms);
	return 0;
}

static void vin_work_fn(struct k_work *work)
{
	ARG_UNUSED(work);

	if (measure() == 0) {
		LOG_INF("VIN %d mV", last_mv);
	}
	k_work_reschedule(&vin_work, K_SECONDS(CONFIG_LINKY_VIN_LOG_INTERVAL_S));
}

int vin_monitor_start(void)
{
	if (!adc_is_ready_dt(&adc)) {
		return -ENODEV;
	}
	int err = adc_channel_setup_dt(&adc);

	if (err) {
		return err;
	}
	if (CONFIG_LINKY_VIN_LOG_INTERVAL_S > 0) {
		k_work_schedule(&vin_work, K_SECONDS(1));
	}
	return 0;
}

int vin_monitor_last_mv(void)
{
	return last_mv;
}
```

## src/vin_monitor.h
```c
/*
 * SPDX-License-Identifier: Apache-2.0
 *
 * Measures the input voltage after the bridge (AIN6, 1 M / 150 k divider),
 * to check the power margin on the TIC while bringing the board up.
 */
#pragma once

#ifdef __cplusplus
extern "C" {
#endif

int vin_monitor_start(void);

/* Last measured input voltage in mV, or -1 before the first measurement. */
int vin_monitor_last_mv(void);

#ifdef __cplusplus
}
#endif
```
